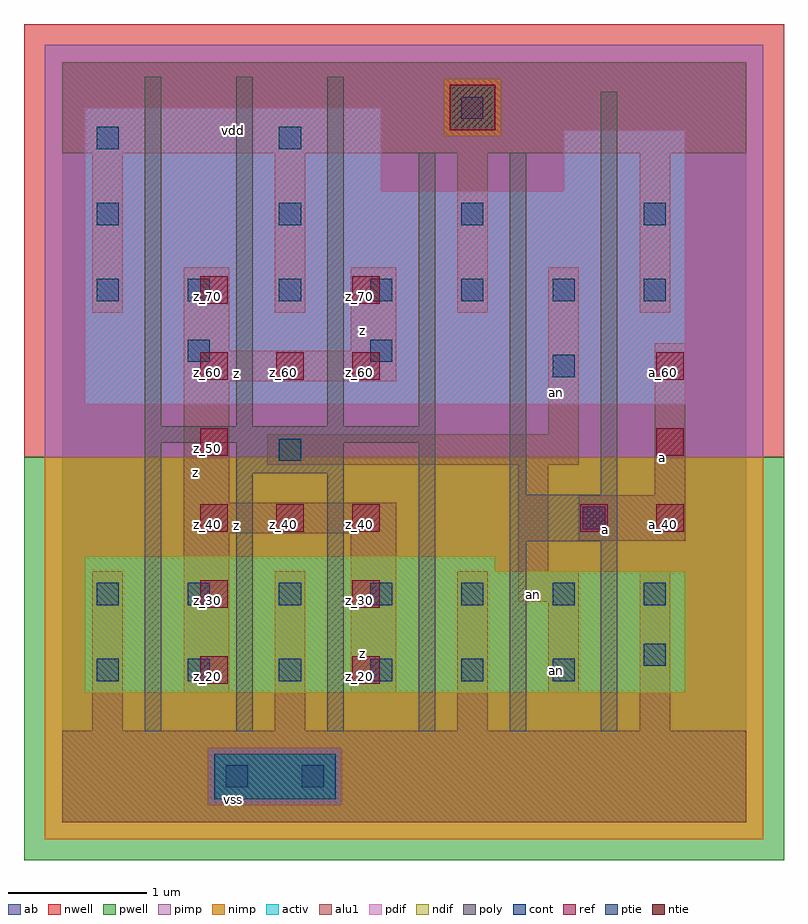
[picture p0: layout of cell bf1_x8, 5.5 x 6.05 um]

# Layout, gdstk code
import gdstk
lib = gdstk.Library(unit=1e-6, precision=2.5e-09)
def R(c, l, rs):  # rectangles x0, y0, x1, y1
    for r in rs: c.add(gdstk.rectangle(r[:2], r[2:], *l))
def A(c, l, x, y, w, h, nx, ny, dx, dy):  # array of equal rectangles
    R(c, l, [(x+i*dx, y+j*dy, x+i*dx+w, y+j*dy+h) for i in range(nx) for j in range(ny)])
ndif = (3, 0)
pdif = (4, 0)
ntie = (5, 0)
ptie = (6, 0)
ref = (24, 0)
cont = (25, 0)
pwell = (41, 0)
nwell = (42, 0)
activ = (43, 0)
pimp = (44, 0)
nimp = (45, 0)
poly = (46, 0)
alu1 = (49, 0)
ab = (63, 0)

bf1_x8 = lib.new_cell('bf1_x8')
R(bf1_x8, ndif, [(0.165,0.935,4.51,1.815), (0.165,1.815,3.135,1.925)])
R(bf1_x8, pdif, [(0.165,3.025,4.51,4.565), (0.165,4.565,2.31,5.17), (3.63,4.565,4.51,5.005)])
R(bf1_x8, ntie, [(2.805,5.005,3.135,5.335)])
R(bf1_x8, ptie, [(1.1,0.165,1.98,0.495)])
A(bf1_x8, ref, 1, 1.55, 0.2, 0.2, 1, 3, 0, 1.1)
A(bf1_x8, ref, 1, 2.1, 0.2, 0.2, 3, 2, 0.55, 1.1)
A(bf1_x8, ref, 4.3, 2.1, 0.2, 0.2, 1, 3, 0, 0.55)
R(bf1_x8, ref, [(1,1,1.2,1.2), (2.1,1,2.3,1.2), (2.1,1.55,2.3,1.75), (3.75,2.1,3.95,2.3), (2.1,3.75,2.3,3.95)])
A(bf1_x8, cont, 0.25, 1.02, 0.16, 0.16, 6, 1, 0.66, 0)
A(bf1_x8, cont, 0.25, 1.57, 0.16, 0.16, 7, 2, 0.66, 2.2)
A(bf1_x8, cont, 0.25, 4.32, 0.16, 0.16, 4, 1, 1.32, 0)
R(bf1_x8, cont, [(1.185,0.25,1.345,0.41), (1.735,0.25,1.895,0.41), (4.21,1.13,4.37,1.29), (3.77,2.12,3.93,2.28), (1.57,2.615,1.73,2.775), (3.55,3.22,3.71,3.38), (0.91,3.33,1.07,3.49), (2.23,3.33,2.39,3.49), (0.25,4.87,0.41,5.03), (1.57,4.87,1.73,5.03), (2.89,5.09,3.05,5.25)])
R(bf1_x8, pwell, [(-0.275,-0.275,5.225,2.64)])
R(bf1_x8, nwell, [(-0.275,2.64,5.225,5.775)])
R(bf1_x8, activ, [(1.1,0.165,1.98,0.495), (0.165,0.935,4.51,1.815), (0.165,1.815,3.135,1.925), (0.165,3.025,4.51,4.565), (0.165,4.565,2.31,5.17), (3.63,4.565,4.51,5.005), (2.805,5.005,3.135,5.335)])
R(bf1_x8, pimp, [(1.06,0.125,2.02,0.535), (-0.125,2.64,5.075,4.965), (-0.125,4.965,2.765,5.375), (3.175,4.965,5.075,5.375), (-0.125,5.375,5.075,5.625)])
R(bf1_x8, nimp, [(-0.125,-0.125,5.075,0.125), (-0.125,0.125,1.06,0.535), (2.02,0.125,5.075,0.535), (-0.125,0.535,5.075,2.64), (2.765,4.965,3.175,5.375)])
A(bf1_x8, poly, 0.6, 2.865, 0.12, 2.53, 3, 1, 0.66, 0)
R(bf1_x8, poly, [(0.6,0.655,0.72,2.745), (1.26,0.655,1.38,2.525), (1.92,0.655,2.04,2.525), (2.58,0.655,2.7,2.745), (3.24,0.655,3.36,2.03), (3.9,0.655,4.02,2.03), (3.24,2.03,4.02,2.37), (3.24,2.37,3.36,4.845), (3.9,2.37,4.02,5.285), (1.26,2.525,2.04,2.745), (0.6,2.745,2.7,2.865), (2.58,2.865,2.7,4.845)])
A(bf1_x8, alu1, 0.22, 0.66, 0.22, 1.155, 4, 2, 1.32, 3.025)
R(bf1_x8, alu1, [(0,0,4.95,0.66), (0.88,0.935,1.21,2.09), (2.09,0.935,2.42,2.09), (3.52,0.935,3.74,1.595), (3.3,1.595,3.74,1.815), (3.3,1.815,3.52,2.585), (3.74,2.035,4.51,2.365), (0.88,2.09,2.42,2.31), (0.88,2.31,1.21,3.19), (4.29,2.365,4.51,3.465), (1.485,2.585,3.74,2.805), (3.52,2.805,3.74,4.015), (0.88,3.19,2.42,3.41), (0.88,3.41,1.21,4.015), (2.09,3.41,2.42,4.015), (0,4.84,4.95,5.5)])
R(bf1_x8, ab, [(0,0,4.95,5.5)])
bf1_x8.add(gdstk.Label('vss', (1.2375,0.165), layer=49, texttype=0))
bf1_x8.add(gdstk.Label('an', (3.575,1.1), layer=49, texttype=0))
bf1_x8.add(gdstk.Label('an', (3.41,1.65), layer=49, texttype=0))
bf1_x8.add(gdstk.Label('a', (3.9325,2.1175), layer=49, texttype=0))
bf1_x8.add(gdstk.Label('a', (4.345,2.64), layer=49, texttype=0))
bf1_x8.add(gdstk.Label('z', (2.1725,1.2225), layer=49, texttype=0))
bf1_x8.add(gdstk.Label('z', (1.265,2.145), layer=49, texttype=0))
bf1_x8.add(gdstk.Label('an', (3.575,3.1075), layer=49, texttype=0))
bf1_x8.add(gdstk.Label('z', (0.9625,2.53), layer=49, texttype=0))
bf1_x8.add(gdstk.Label('z', (1.265,3.245), layer=49, texttype=0))
bf1_x8.add(gdstk.Label('z', (2.1725,3.56), layer=49, texttype=0))
bf1_x8.add(gdstk.Label('vdd', (1.2375,5.005), layer=49, texttype=0))
bf1_x8.add(gdstk.Label('a_40', (3.8,2.15), layer=24, texttype=0))
bf1_x8.add(gdstk.Label('z_50', (1.05,2.7), layer=24, texttype=0))
bf1_x8.add(gdstk.Label('a_40', (4.35,2.15), layer=24, texttype=0))
bf1_x8.add(gdstk.Label('a_50', (4.35,2.7), layer=24, texttype=0))
bf1_x8.add(gdstk.Label('a_60', (4.35,3.25), layer=24, texttype=0))
bf1_x8.add(gdstk.Label('z_30', (2.15,1.6), layer=24, texttype=0))
bf1_x8.add(gdstk.Label('z_40', (2.15,2.15), layer=24, texttype=0))
bf1_x8.add(gdstk.Label('z_40', (1.6,2.15), layer=24, texttype=0))
bf1_x8.add(gdstk.Label('z_70', (2.15,3.8), layer=24, texttype=0))
bf1_x8.add(gdstk.Label('z_60', (2.15,3.25), layer=24, texttype=0))
bf1_x8.add(gdstk.Label('z_60', (1.6,3.25), layer=24, texttype=0))
bf1_x8.add(gdstk.Label('z_60', (1.05,3.25), layer=24, texttype=0))
bf1_x8.add(gdstk.Label('z_30', (1.05,1.6), layer=24, texttype=0))
bf1_x8.add(gdstk.Label('z_40', (1.05,2.15), layer=24, texttype=0))
bf1_x8.add(gdstk.Label('z_70', (1.05,3.8), layer=24, texttype=0))
bf1_x8.add(gdstk.Label('z_20', (1.05,1.05), layer=24, texttype=0))
bf1_x8.add(gdstk.Label('z_20', (2.15,1.05), layer=24, texttype=0))

lib.write_gds('bf1_x8.gds')
